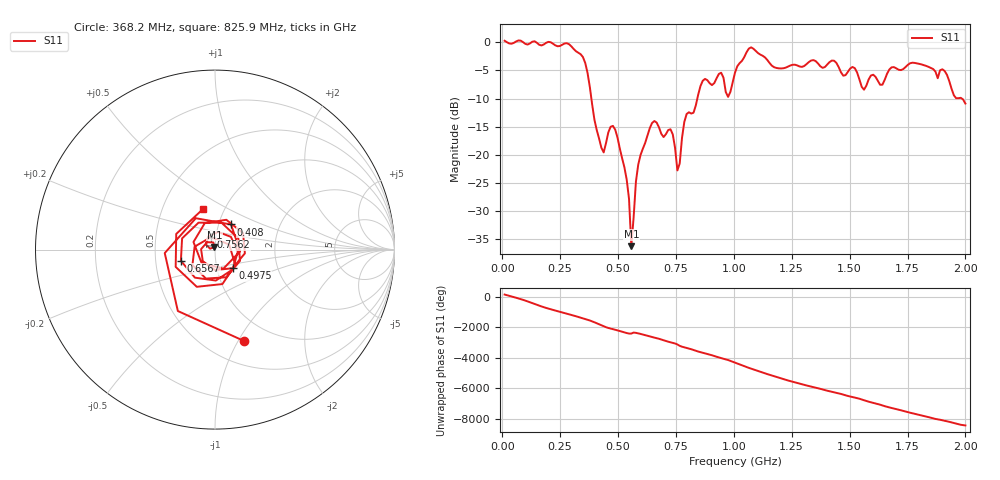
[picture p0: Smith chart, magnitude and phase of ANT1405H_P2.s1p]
!Created with skrf (http://scikit-rf.org).
# Hz S RI R 50.0
!freq ReS11 ImS11
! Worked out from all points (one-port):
!   201 points, 10 MHz to 2 GHz, reference 50 ohm
!   lowest |S11| = -36.2 dB at 557.2 MHz (marker M1), VSWR 1.03, Z = 49.6 + j1.5 ohm
!   |S11| at or under -10 dB: 384.7 MHz to 842.3 MHz (457.5 MHz wide, 74.6 % of centre); 1.985 GHz to end of sweep
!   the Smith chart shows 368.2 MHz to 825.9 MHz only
!   S11 on the Smith chart (normalised r, x): 368.2 MHz: 0.74, -1.06; 408 MHz: 1.15, +0.33; 497.6 MHz: 1.19, -0.25; 656.8 MHz: 0.68, -0.09; 756.2 MHz: 0.95, +0.13; 825.9 MHz: 0.80, +0.39
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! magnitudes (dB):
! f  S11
! 10 MHz  0.3
! 258.8 MHz  -0.4
! 368.2 MHz  -5.4
! 408 MHz  -15.6
! 437.9 MHz  -19.5
! 467.7 MHz  -15.0
! 497.6 MHz  -16.9
! 507.5 MHz  -18.9
! 547.3 MHz  -27.8
! 557.2 MHz  -36.2
! 587.1 MHz  -21.7
! 656.8 MHz  -14.0
! 696.5 MHz  -16.8
! 726.4 MHz  -15.4
! 756.2 MHz  -22.7
! 786.1 MHz  -14.1
! 825.9 MHz  -12.5
! 865.7 MHz  -6.8
! 945.3 MHz  -5.4
! 975.1 MHz  -9.7
! 1.005 GHz  -5.4
! 1.075 GHz  -0.9
! 1.254 GHz  -4.0
! 1.502 GHz  -4.7
! 1.562 GHz  -8.4
! 1.751 GHz  -4.0
! 1.901 GHz  -4.8
! 2 GHz  -10.9
